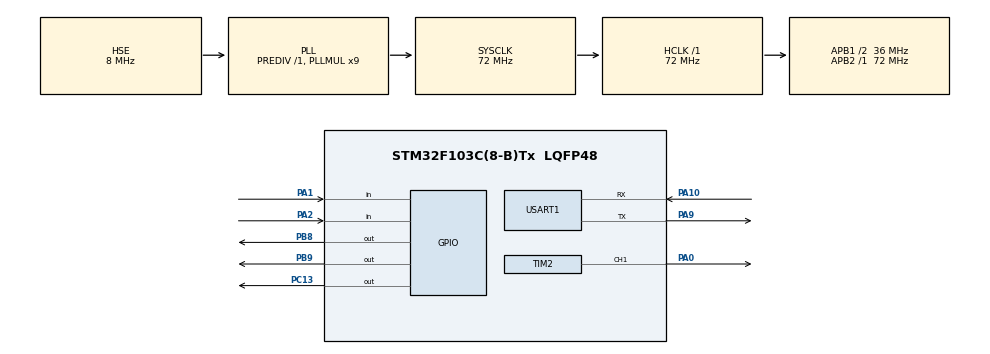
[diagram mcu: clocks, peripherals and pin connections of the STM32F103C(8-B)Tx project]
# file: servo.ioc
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Mcu.Family=STM32F1
Mcu.Name=STM32F103C(8-B)Tx
Mcu.Package=LQFP48
NVIC.PriorityGroup=NVIC_PRIORITYGROUP_4
NVIC.USART1_IRQn=true\:0\:0\:false\:false\:true\:true\:true\:true
PA0-WKUP.Signal=S_TIM2_CH1_ETR
PA1.GPIO_PuPd=GPIO_PULLUP
PA1.Signal=GPIO_Input
PA10.Mode=Asynchronous
PA10.Signal=USART1_RX
PA13.Mode=Serial_Wire
PA13.Signal=SYS_JTMS-SWDIO
PA14.Mode=Serial_Wire
PA14.Signal=SYS_JTCK-SWCLK
PA2.GPIO_PuPd=GPIO_PULLUP
PA2.Signal=GPIO_Input
PA9.Mode=Asynchronous
PA9.Signal=USART1_TX
PB8.GPIO_ModeDefaultOutputPP=GPIO_MODE_OUTPUT_OD
PB8.GPIO_PuPd=GPIO_PULLUP
PB8.GPIO_Speed=GPIO_SPEED_FREQ_HIGH
PB8.Signal=GPIO_Output
PB9.GPIO_ModeDefaultOutputPP=GPIO_MODE_OUTPUT_OD
PB9.GPIO_PuPd=GPIO_PULLUP
PB9.GPIO_Speed=GPIO_SPEED_FREQ_HIGH
PB9.PinState=GPIO_PIN_SET
PB9.Signal=GPIO_Output
PC13-TAMPER-RTC.Signal=GPIO_Output
PD0-OSC_IN.Mode=HSE-External-Oscillator
PD0-OSC_IN.Signal=RCC_OSC_IN
PD1-OSC_OUT.Mode=HSE-External-Oscillator
PD1-OSC_OUT.Signal=RCC_OSC_OUT
ProjectManager.HeapSize=0x200
ProjectManager.StackSize=0x400
ProjectManager.TargetToolchain=STM32CubeIDE
RCC.AHBFreq_Value=72000000
RCC.APB1CLKDivider=RCC_HCLK_DIV2
RCC.APB1Freq_Value=36000000
RCC.APB1TimFreq_Value=72000000
RCC.APB2Freq_Value=72000000
RCC.APB2TimFreq_Value=72000000
RCC.HCLKFreq_Value=72000000
RCC.PLLMUL=RCC_PLL_MUL9
RCC.PLLSourceVirtual=RCC_PLLSOURCE_HSE
RCC.SYSCLKFreq_VALUE=72000000
RCC.SYSCLKSource=RCC_SYSCLKSOURCE_PLLCLK
RCC.USBFreq_Value=72000000
SH.S_TIM2_CH1_ETR.0=TIM2_CH1,PWM Generation1 CH1
TIM2.Channel-PWM\ Generation1\ CH1=TIM_CHANNEL_1
TIM2.Period=19999
TIM2.Prescaler=71
TIM2.Pulse-PWM\ Generation1\ CH1=1500
USART1.VirtualMode=VM_ASYNC
board=custom

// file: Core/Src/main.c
/* USER CODE BEGIN Header */
/**
  ******************************************************************************
  * @file           : main.c
  * @brief          : Main program body
  ******************************************************************************
  * @attention
  *
  * Copyright (c) 2026 STMicroelectronics.
  * All rights reserved.
  *
  * This software is licensed under terms that can be found in the LICENSE file
  * in the root directory of this software component.
  * If no LICENSE file comes with this software, it is provided AS-IS.
  *
  ******************************************************************************
  */
/* USER CODE END Header */
#include "main.h"
#include "tim.h"
#include "usart.h"
#include "gpio.h"

/* USER CODE BEGIN Includes */
#include <stdio.h>
#include "OLED.h"

/* USER CODE END Includes */

/* USER CODE BEGIN PV */
/* 舵机目标角度 / 当前 CCR */
static uint16_t g_target = 90;
static uint16_t g_ccr    = 1500;

/* 自动序列：0 -> 45 -> 90 -> 135 -> 180，每秒一个 */
static const uint8_t seq[5] = { 0, 45, 90, 135, 180 };
static uint8_t  g_idx  = 0;
static uint32_t g_tick = 0;
static uint8_t  g_auto = 1;          /* 1 = 自动序列，0 = 按键手动 */

/* 两个按键的消抖状态 */
static uint8_t  kp_raw = 1, kp_stable = 1;  static uint32_t kp_t = 0;
static uint8_t  km_raw = 1, km_stable = 1;  static uint32_t km_t = 0;

/* USER CODE END PV */

void SystemClock_Config(void);
/* USER CODE BEGIN PFP */
static uint16_t AngleToCCR(float angle);
void   Servo_SetAngle(float angle);
static void OLED_ShowAll(uint16_t deg, uint16_t ccr);
static void Servo_Apply(uint16_t deg);
static uint8_t Key_Once(uint8_t *raw, uint8_t *stable, uint32_t *t,
                        GPIO_TypeDef *port, uint16_t pin);
void   App_Task(void);

/* USER CODE END PFP */

int main(void)
{

  /* MCU Configuration--------------------------------------------------------*/

  /* Reset of all peripherals, Initializes the Flash interface and the Systick. */
  HAL_Init();

  /* Configure the system clock */
  SystemClock_Config();

  /* Initialize all configured peripherals */
  MX_GPIO_Init();
  MX_TIM2_Init();
  MX_USART1_UART_Init();
  /* USER CODE BEGIN 2 */
  HAL_TIM_PWM_Start(&htim2, TIM_CHANNEL_1);   /* 启动 50Hz PWM */
  OLED_Init();                                 /* 屏初始化 */
  g_tick = HAL_GetTick();
  Servo_Apply(90);                             /* 上电先停在中间位置 */

  /* USER CODE END 2 */

  /* Infinite loop */
  while (1)
  {

    /* USER CODE BEGIN 3 */
    App_Task();
  }
  /* USER CODE END 3 */
}

void SystemClock_Config(void)
{
  RCC_OscInitTypeDef RCC_OscInitStruct = {0};
  RCC_ClkInitTypeDef RCC_ClkInitStruct = {0};

  /** Initializes the RCC Oscillators according to the specified parameters
  * in the RCC_OscInitTypeDef structure.
  */
  RCC_OscInitStruct.OscillatorType = RCC_OSCILLATORTYPE_HSE;
  RCC_OscInitStruct.HSEState = RCC_HSE_ON;
  RCC_OscInitStruct.HSEPredivValue = RCC_HSE_PREDIV_DIV1;
  RCC_OscInitStruct.HSIState = RCC_HSI_ON;
  RCC_OscInitStruct.PLL.PLLState = RCC_PLL_ON;
  RCC_OscInitStruct.PLL.PLLSource = RCC_PLLSOURCE_HSE;
  RCC_OscInitStruct.PLL.PLLMUL = RCC_PLL_MUL9;
  if (HAL_RCC_OscConfig(&RCC_OscInitStruct) != HAL_OK)
  {
    Error_Handler();
  }

  /** Initializes the CPU, AHB and APB buses clocks
  */
  RCC_ClkInitStruct.ClockType = RCC_CLOCKTYPE_HCLK|RCC_CLOCKTYPE_SYSCLK
                              |RCC_CLOCKTYPE_PCLK1|RCC_CLOCKTYPE_PCLK2;
  RCC_ClkInitStruct.SYSCLKSource = RCC_SYSCLKSOURCE_PLLCLK;
  RCC_ClkInitStruct.AHBCLKDivider = RCC_SYSCLK_DIV1;
  RCC_ClkInitStruct.APB1CLKDivider = RCC_HCLK_DIV2;
  RCC_ClkInitStruct.APB2CLKDivider = RCC_HCLK_DIV1;

  if (HAL_RCC_ClockConfig(&RCC_ClkInitStruct, FLASH_LATENCY_2) != HAL_OK)
  {
    Error_Handler();
  }
}

/* USER CODE BEGIN 4 */
/* 角度 -> CCR。已配成 1 个计数 = 1µs，所以 CCR 的数值就是脉宽(µs) */
static uint16_t AngleToCCR(float angle)
{
  if (angle < 0.0f)   angle = 0.0f;
  if (angle > 180.0f) angle = 180.0f;

  /* 两端各留余量：0° 用 550µs、180° 用 2450µs，
     名义值 500/2500 会顶到机械限位，发出咔咔声 */
  return (uint16_t)(550.0f + angle * (2450.0f - 550.0f) / 180.0f + 0.5f);
}

void Servo_SetAngle(float angle)
{
  g_ccr = AngleToCCR(angle);
  __HAL_TIM_SET_COMPARE(&htim2, TIM_CHANNEL_1, g_ccr);
}

/* 三行显示：Target / CCR / Pulse，第 4 行显示当前模式 */
static void OLED_ShowAll(uint16_t deg, uint16_t ccr)
{
  OLED_ShowString(1, 1,  "Target:");
  OLED_ShowNum(1, 9, deg, 3);
  OLED_ShowString(1, 12, "deg");

  OLED_ShowString(2, 1,  "CCR   :");
  OLED_ShowNum(2, 9, ccr, 4);

  OLED_ShowString(3, 1,  "Pulse :");
  OLED_ShowNum(3, 9, ccr / 1000, 1);
  OLED_ShowString(3, 10, ".");
  OLED_ShowNum(3, 11, ccr % 1000, 3);
  OLED_ShowString(3, 14, "ms");

  OLED_ShowString(4, 1, g_auto ? "MODE: AUTO    " : "MODE: MANUAL");
}

/* 统一入口：设角度 + 刷屏 + 串口打印（三处数值一定一致） */
static void Servo_Apply(uint16_t deg)
{
  g_target = deg;
  Servo_SetAngle((float)deg);

  OLED_ShowAll(deg, g_ccr);

  printf("Target=%3d  CCR=%4d  Pulse=%d.%03dms\r\n",
         (int)deg, (int)g_ccr, (int)(g_ccr / 1000), (int)(g_ccr % 1000));
}

/* 按键：稳定 15ms 才算一次，按住不放只触发一次 */
static uint8_t Key_Once(uint8_t *raw, uint8_t *stable, uint32_t *t,
                        GPIO_TypeDef *port, uint16_t pin)
{
  uint8_t now = (HAL_GPIO_ReadPin(port, pin) == GPIO_PIN_RESET) ? 0 : 1;

  if (now != *raw) { *raw = now; *t = HAL_GetTick(); }

  if (HAL_GetTick() - *t >= 15 && now != *stable) {
    *stable = now;
    if (*stable == 0) return 1;
  }
  return 0;
}

/* 主循环任务：按键 ±15°，无按键时自动跑序列 */
void App_Task(void)
{
  /* PA1 加 15°，PA2 减 15°，范围 0~180，按下立即生效 */
  if (Key_Once(&kp_raw, &kp_stable, &kp_t, GPIOA, GPIO_PIN_1)) {
    g_auto = 0;
    Servo_Apply((g_target + 15 > 180) ? 180 : (uint16_t)(g_target + 15));
  }
  if (Key_Once(&km_raw, &km_stable, &km_t, GPIOA, GPIO_PIN_2)) {
    g_auto = 0;
    Servo_Apply((g_target < 15) ? 0 : (uint16_t)(g_target - 15));
  }

  /* 自动序列：每 1 秒走下一个角度，到 180° 后回到 0° */
  if (g_auto && (HAL_GetTick() - g_tick >= 1000)) {
    g_tick = HAL_GetTick();
    g_idx  = (uint8_t)((g_idx + 1) % 5);
    Servo_Apply(seq[g_idx]);
  }
}

/* GCC 下的 printf 重定向：走 USART1（Keil 的 __io_putchar 在这里不适用） */
int _write(int fd, char *ptr, int len)
{
  HAL_UART_Transmit(&huart1, (uint8_t *)ptr, (uint16_t)len, 100);
  return len;
}

/* USER CODE END 4 */

void Error_Handler(void)
{
  __disable_irq();
  while (1)
  {
  }
}
